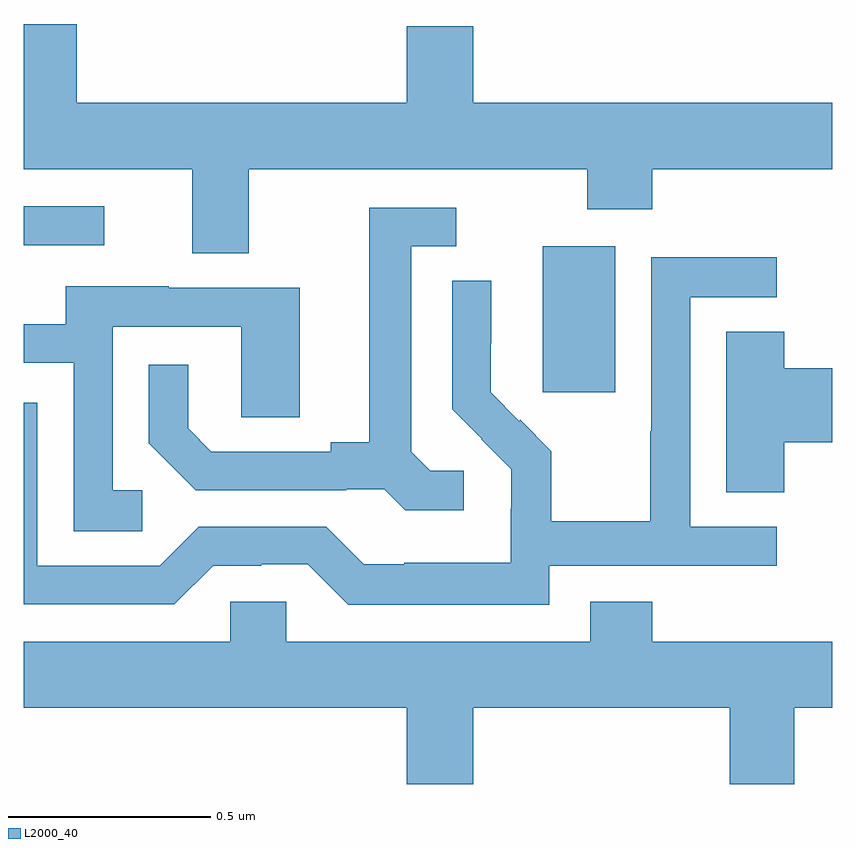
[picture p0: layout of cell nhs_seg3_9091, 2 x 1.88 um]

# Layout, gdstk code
import gdstk
lib = gdstk.Library(unit=1e-6, precision=1e-09)
def R(c, l, rs):  # rectangles x0, y0, x1, y1
    for r in rs: c.add(gdstk.rectangle(r[:2], r[2:], *l))
def P(c, l, *ps):  # polygons
    for p in ps: c.add(gdstk.Polygon(p, *l))
L2000_40 = (2000, 40)

nhs_seg3_9091 = lib.new_cell('nhs_seg3_9091')
R(nhs_seg3_9091, L2000_40, [(225.284,696.369,225.463,696.73), (224,696.732,224.2,696.828)])
P(nhs_seg3_9091, L2000_40, [(224.557,696.92),(225.394,696.92),(225.394,696.821),(225.554,696.821),(225.554,696.92),(226,696.92),(226,697.084),(225.112,697.084),(225.112,697.273),(224.948,697.273),(224.948,697.084),(224.132,697.084),(224.132,697.279),(224,697.279),(224,696.92),(224.417,696.92),(224.417,696.712),(224.557,696.712)],
  [(225.088,696.174),(225.006,696.174),(224.959,696.221),(224.959,696.729),(225.07,696.729),(225.07,696.825),(224.855,696.825),(224.855,696.245),(224.759,696.245),(224.759,696.222),(224.464,696.222),(224.407,696.279),(224.407,696.436),(224.31,696.436),(224.31,696.242),(224.426,696.126),(224.798,696.126),(224.798,696.129),(224.892,696.129),(224.944,696.077),(225.088,696.077)],
  [(225.3,695.94),(225.862,695.94),(225.862,696.036),(225.648,696.036),(225.648,696.603),(225.862,696.603),(225.862,696.702),(225.552,696.702),(225.552,696.272),(225.55,696.272),(225.55,696.049),(225.305,696.049),(225.305,696.223),(225.228,696.3),(225.225,696.297),(225.155,696.368),(225.155,696.49),(225.156,696.49),(225.156,696.644),(225.06,696.644),(225.06,696.326),(225.133,696.253),(225.132,696.252),(225.206,696.178),(225.206,696.081),(225.204,696.081),(225.204,695.947),(224.941,695.947),(224.941,695.943),(224.841,695.943),(224.748,696.036),(224.433,696.036),(224.337,695.94),(224.034,695.94),(224.034,696.342),(224,696.342),(224,695.844),(224.373,695.844),(224.469,695.94),(224.588,695.94),(224.588,695.943),(224.703,695.943),(224.803,695.843),(225.3,695.843)],
  [(224.293,696.126),(224.22,696.126),(224.22,696.531),(224.538,696.531),(224.538,696.307),(224.683,696.307),(224.683,696.627),(224.359,696.627),(224.359,696.631),(224.105,696.631),(224.105,696.537),(224,696.537),(224,696.441),(224.124,696.441),(224.124,696.025),(224.293,696.025)],
  [(225.881,696.245),(226,696.245),(226,696.428),(225.881,696.428),(225.881,696.518),(225.737,696.518),(225.737,696.121),(225.881,696.121)],
  [(225.112,695.588),(225.746,695.588),(225.746,695.4),(225.906,695.4),(225.906,695.588),(226,695.588),(226,695.752),(225.554,695.752),(225.554,695.851),(225.401,695.851),(225.401,695.752),(224.649,695.752),(224.649,695.85),(224.511,695.85),(224.511,695.752),(224,695.752),(224,695.588),(224.948,695.588),(224.948,695.4),(225.112,695.4)])

lib.write_gds('nhs_seg3_9091.gds')
